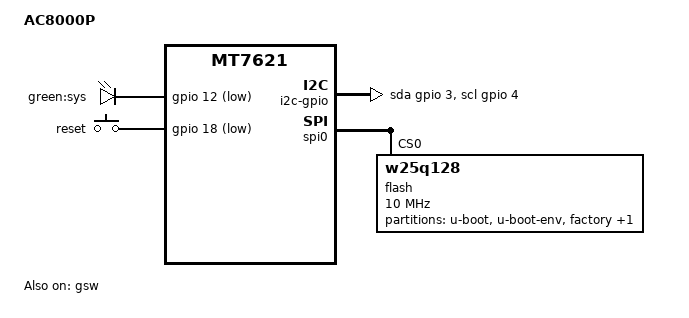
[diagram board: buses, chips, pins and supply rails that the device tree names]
/dts-v1/;

#include "mt7621.dtsi"

#include <dt-bindings/gpio/gpio.h>
#include <dt-bindings/input/input.h>

/ {
	compatible = "xwrt,ac8000p", "mediatek,mt7621-soc";
	model = "AC8000P";

	aliases {
		led-status = &led_sys;
		label-mac-device = &gmac0;
	};

	chosen {
		bootargs = "console=ttyS0,57600";
	};

	leds {
		compatible = "gpio-leds";

		led_sys: sys {
			label = "green:sys";
			gpios = <&gpio 12 1>;
			default-state = "on";
		};
	};

	i2c-gpio {
		#address-cells = <1>;
		#size-cells = <0>;

		compatible = "i2c-gpio";
		gpios = <&gpio 3 GPIO_ACTIVE_HIGH &gpio 4 GPIO_ACTIVE_HIGH>;
		i2c-gpio,delay-us = <2>;
	};

	keys {
		compatible = "gpio-keys";

		reset {
			label = "reset";
			gpios = <&gpio 18 1>;
			linux,code = <KEY_RESTART>;
		};
	};
};

&sdhci {
	status = "disabled";
};

&spi0 {
	status = "okay";

	flash@0 {
		compatible = "w25q128";
		reg = <0>;
		linux,modalias = "m25p80";
		spi-max-frequency = <10000000>;

		partitions {
			compatible = "fixed-partitions";
			#address-cells = <1>;
			#size-cells = <1>;

			partition@0 {
				label = "u-boot";
				reg = <0x0 0x30000>;
				read-only;
			};

			partition@30000 {
				label = "u-boot-env";
				reg = <0x30000 0x10000>;
				read-only;
			};

			factory: partition@40000 {
				label = "factory";
				reg = <0x40000 0x10000>;
				read-only;
			};

			partition@50000 {
				compatible = "denx,uimage";
				label = "firmware";
				reg = <0x50000 0xfb0000>;
			};
		};
	};
};

&gmac0 {
	mtd-mac-address = <&factory 0xe000>;
	nvmem-cells = <&macaddr_factory_e000>;
	nvmem-cell-names = "mac-address";
};

&switch0 {
	/* must delete compatible property */
	/delete-property/ compatible;
};

&ethernet {
	pinctrl-0 = <&rgmii1_pins &mdio_pins>;
};

&gsw {
	compatible = "mediatek,mt753x";
	status = "okay";

	mediatek,mdio = <&mdio>;
	mediatek,portmap = "llllw";
	mt7530,direct-phy-access;
	resets = <&rstctrl 2>;
	reset-names = "mcm";
	mediatek,mcm;

	#address-cells = <1>;
	#size-cells = <0>;

	/*
	port5: port@5 {
		compatible = "mediatek,mt753x-port";
		reg = <5>;
		phy-mode = "rgmii";
		fixed-link {
			speed = <1000>;
			full-duplex;
		};
	};
	*/

	port6: port@6 {
		compatible = "mediatek,mt753x-port";
		reg = <6>;
		phy-mode = "rgmii";
		fixed-link {
			speed = <1000>;
			full-duplex;
		};
	};
};

&state_default {
	gpio {
		groups = "wdt", "i2c", "uart2";
		function = "gpio";
	};
};

&factory {
	compatible = "nvmem-cells";
	#address-cells = <1>;
	#size-cells = <1>;

	macaddr_factory_e000: macaddr@e000 {
		reg = <0xe000 0x6>;
	};
};
